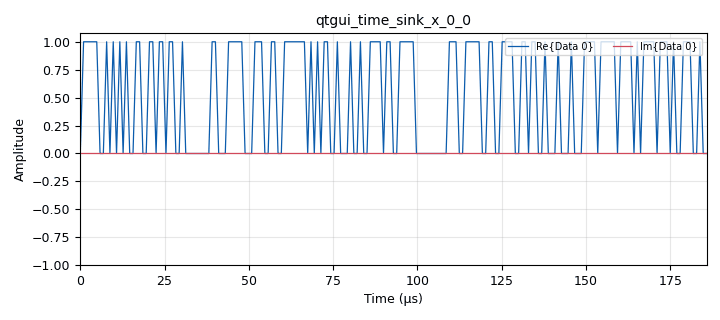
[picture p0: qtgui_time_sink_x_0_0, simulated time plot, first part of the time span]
options:
  parameters:
    generate_options: qt_gui
    id: CDMA
    output_language: python
    title: Not titled yet
  states: {}

blocks:
- name: samp_rate
  id: variable
  parameters:
    value: '1023000'
  states: {}
- name: analog_sig_source_x_0
  id: analog_sig_source_x
  parameters:
    amp: '1'
    freq: '1575420000'
    offset: '0'
    phase: '0'
    samp_rate: samp_rate
    type: complex
    waveform: analog.GR_SIN_WAVE
  states: {state: disabled}
- name: blocks_float_to_complex_0
  id: blocks_float_to_complex
  parameters: {}
  states: {}
- name: blocks_int_to_float_0
  id: blocks_int_to_float
  parameters:
    scale: '1'
  states: {}
- name: blocks_multiply_xx_0
  id: blocks_multiply_xx
  parameters:
    type: complex
  states: {state: disabled}
- name: blocks_throttle_0
  id: blocks_throttle
  parameters:
    samples_per_second: '1023000'
    type: int
    vlen: '1023'
  states: {}
- name: blocks_throttle_0_0
  id: blocks_throttle
  parameters:
    samples_per_second: '50'
    type: int
    vlen: '300'
  states: {}
- name: blocks_vector_source_x_0
  id: blocks_vector_source_x
  parameters:
    repeat: 'True'
    type: int
    vector: '[1, 1, 1, 1, 0, 0, 0, 1, 1, 0, 1, 0, 0, 0, 0, 1, 0, 0, 0, 0, 0, 0, 0, 1, 1, 0, 1, 0, 0, 0, 1, 1, 0, 0, 1, 1, 0, 0, 1, 1, 1, 1, 0, 1, 1, 0, 0, 0, 1, 1, 1, 1, 0, 0, 1, 0, 1, 0, 1, 1, 1, 1, 1, 0, 1, 1, 1, 1, 1, 1, 1, 0, 0, 0, 1, 1, 0, 0, 0, 1, 0, 1, 0, 1, 1, 0, 1, 0, 1, 0, 0, 1, 1, 0, 1, 1, 1, 1, 0, 1, 0, 0, 0, 0, 1, 1, 0, 1, 1, 1, 0, 0, 1, 1, 1, 1, 1, 1, 0, 0, 0, 1, 1, 0, 0, 1, 0, 0, 0, 1, 0, 0, 1, 0, 1, 1, 0, 1, 1, 1, 0, 0, 1, 0, 1, 0, 1, 1, 0, 0, 0, 1, 0, 1, 0, 0, 1, 0, 0, 0, 0, 1, 0, 1, 0, 1, 1, 0, 0, 1, 0, 1, 1, 1, 1, 0, 0, 0, 1, 0, 0, 0, 0, 0, 1, 0, 1, 0, 1, 1, 0, 1, 0, 0, 0, 1, 1, 0, 0, 0, 1, 1, 0, 1, 0, 0, 0, 0, 0, 1, 1, 1, 1, 0, 1, 1, 0, 0, 0, 1, 1, 0, 0, 1, 1, 0, 1, 1, 0, 1, 1, 1, 1, 1, 0, 0, 0, 0, 1, 0, 1, 1, 1, 0, 0, 0, 1, 0, 1, 0, 1, 1, 0, 0, 0, 1, 0, 0, 0, 0, 0, 1, 1, 0, 1, 1, 0, 0, 0, 0, 0, 0, 0, 1, 1, 1, 0, 0, 0, 0, 0, 0, 1, 1, 0, 1, 1, 0, 0, 1, 1, 1, 1, 0, 0, 0, 0, 1, 0, 1, 1, 1, 0, 0, 1, 1, 0, 0, 1, 1, 0, 0, 1, 1, 0, 0, 0, 1, 1, 1, 0, 0, 0, 0, 1, 1, 1, 0, 1, 0, 0, 1, 1, 1, 1, 0, 0, 1, 1, 1, 1, 1, 0, 1, 0, 0, 0, 1, 1, 1, 1, 0, 0, 0, 0, 0, 0, 1, 1, 0, 0, 1, 0, 0, 1, 1, 0, 0, 0, 1, 0, 1, 0, 1, 0, 1, 0, 1, 0, 1, 0, 0, 1, 1, 1, 0, 0, 0, 1, 0, 0, 0, 0, 1, 0, 1, 0, 1, 1, 0, 0, 1, 0, 1, 1, 0, 1, 1, 0, 1, 0, 1, 0, 0, 1, 0, 0, 1, 0, 1, 1, 1, 1, 0, 0, 0, 1, 1, 0, 0, 0, 1, 1, 0, 1, 1, 0, 0, 0, 1, 1, 1, 1, 0, 1, 0, 1, 0, 1, 1, 0, 0, 0, 0, 0, 1, 0, 1, 1, 1, 1, 1, 1, 0, 1, 0, 0, 0, 0, 0, 0, 0, 0, 1, 0, 1, 1, 1, 0, 0, 1, 0, 0, 0, 1, 0, 0, 1, 0, 1, 0, 0, 0, 1, 1, 0, 0, 0, 1, 0, 0, 1, 0, 0, 0, 1, 1, 1, 0, 1, 0, 1, 0, 0, 0, 1, 1, 1, 1, 1, 0, 0, 1, 0, 1, 1, 1, 1, 1, 1, 1, 0, 0, 1, 1, 0, 0, 1, 0, 0, 1, 0, 0, 1, 1, 0, 1, 1, 1, 1, 1, 1, 1, 1, 1, 1, 1, 1, 1, 0, 0, 0, 0, 0, 1, 1, 1, 0, 0, 0, 1, 1, 0, 0, 1, 1, 0, 0, 0, 0, 0, 0, 0, 1, 1, 0, 0, 1, 0, 0, 1, 1, 0, 1, 1, 1, 0, 1, 1, 0, 1, 1, 0, 0, 0, 0, 1, 0, 0, 1, 1, 0, 0, 0, 1, 1, 0, 0, 1, 1, 1, 1, 1, 1, 1, 1, 0, 0, 0, 1, 1, 0, 0, 0, 1, 0, 0, 0, 1, 1, 0, 0, 0, 0, 1, 1, 1, 1, 1, 1, 1, 0, 0, 1, 0, 1, 1, 1, 0, 1, 1, 1, 0, 1, 1, 1, 1, 0, 1, 1, 0, 0, 0, 1, 1, 0, 0, 1, 1, 1, 1, 1, 0, 1, 0, 1, 0, 0, 1, 0, 0, 1, 1, 0, 0, 0, 0, 1, 1, 1, 0, 0, 1, 0, 0, 0, 0, 0, 1, 0, 1, 0, 0, 1, 1, 0, 0, 1, 1, 0, 0, 1, 1, 0, 1, 0, 1, 0, 0, 1, 1, 1, 1, 1, 1, 0, 0, 0, 0, 1, 1, 1, 0, 1, 0, 1, 1, 0, 0, 1, 0, 1, 0, 0, 0, 1, 1, 1, 1, 0, 1, 0, 1, 0, 0, 1, 1, 1, 0, 0, 1, 0, 1, 0, 1, 1, 0, 1, 1, 1, 1, 0, 1, 1, 0, 1, 1, 0, 0, 0, 0, 1, 0, 0, 1, 1, 0, 1, 0, 0, 1, 1, 1, 0, 1, 1, 0, 1, 0, 0, 0, 1, 0, 0, 0, 0, 0, 0, 1, 1, 1, 0, 0, 0, 1, 1, 1, 0, 0, 1, 1, 0, 0, 1, 1, 0, 0, 0, 1, 1, 0, 0, 1, 1, 0, 1, 1, 0, 0, 0, 1, 1, 1, 1, 1, 1, 0, 1, 1, 1, 0, 0, 0, 1, 0, 1, 0, 1, 0, 1, 0, 0, 0, 1, 1, 1, 0, 1, 0, 0, 0, 1, 1, 1, 1, 0, 0, 1, 1, 1, 1, 0, 0, 0, 0, 1, 0, 0, 1, 1, 0, 1, 1, 0, 0, 0, 0, 1, 1, 1, 0, 0, 0, 1, 1, 0, 1, 0, 0, 0, 1, 0, 1, 1, 0, 1, 0, 0, 0, 0, 1, 1, 0, 1, 1, 1, 1, 1, 1, 1, 0, 1, 1, 1, 1, 0, 1, 0, 0, 0, 1, 1, 0, 0, 0, 0, 0, 1, 0, 1, 1, 1, 1, 1, 0, 0, 1, 1, 1, 0, 1, 0, 1, 1, 1, 1, 0, 0, 0, 0, 1, 1, 1, 1, 0, 1, 0, 0, 1, 1, 0, 0, 0, 0, 0, 1, 1, 1, 1, 1, 0, 0, 1, 0, 1, 1, 0, 0, 1, 1, 0, 0, 0, 1, 0, 0, 1, 0, 1, 0, 0, 0, 0]'
    vlen: '1023'
  states: {}
- name: blocks_vector_source_x_0_0
  id: blocks_vector_source_x
  parameters:
    repeat: 'True'
    type: int
    vector: '[1,0,0,0,1,0,1,1,1,0,1,0,1,0,1,0,1,0,1,0,1,0,1,1,0,1,0,1,0,1,1,0,0,0,0,1,0,0,1,1,1,0,0,0,1,0,0,1,1,0,0,1,1,0,0,0,1,1,0,0,0,0,1,0,0,1,0,1,0,1,0,1,0,0,1,0,0,0,0,0,0,0,0,0,0,0,0,1,0,1,0,1,1,1,1,1,1,1,1,1,1,1,1,1,1,1,1,1,1,1,1,1,1,1,1,1,0,0,1,1,1,1,1,1,1,1,1,1,1,1,1,1,1,1,1,1,1,1,1,1,1,1,1,1,1,1,0,0,1,1,1,1,1,1,1,1,1,1,1,1,1,1,1,1,1,1,1,1,1,1,1,1,1,1,1,1,0,0,0,0,1,1,1,1,1,1,1,1,1,1,1,1,1,1,1,1,0,1,0,0,0,0,0,0,1,1,0,0,1,1,0,0,1,1,1,1,0,0,1,1,0,0,1,1,0,0,1,1,1,1,0,0,1,0,1,0,0,1,1,1,0,0,0,0,0,0,0,0,1,1,0,0,1,0,0,0,1,0,0,0,0,0,0,0,0,0,0,0,0,0,0,0,1,1,0,0,1,0,1,0,0,0,0,0,0,0,0,0,0,1,1,0,1,0,1,0,0,0,0,1]'
    vlen: '300'
  states: {}
- name: blocks_vector_to_stream_0
  id: blocks_vector_to_stream
  parameters:
    num_items: '1023'
    type: int
  states: {}
- name: blocks_vector_to_stream_0_0
  id: blocks_vector_to_stream
  parameters:
    num_items: '300'
    type: int
  states: {}
- name: blocks_xor_xx_0
  id: blocks_xor_xx
  parameters:
    type: int
  states: {}
- name: qtgui_time_sink_x_0
  id: qtgui_time_sink_x
  parameters:
    size: '1024'
    srate: samp_rate
    type: complex
  states: {state: disabled}
- name: qtgui_time_sink_x_0_0
  id: qtgui_time_sink_x
  parameters:
    size: '1024'
    srate: samp_rate
    type: complex
  states: {}
- name: qtgui_time_sink_x_0_0_0
  id: qtgui_time_sink_x
  parameters:
    size: '1024'
    srate: samp_rate
    type: complex
  states: {state: disabled}
- name: uhd_usrp_sink_0
  id: uhd_usrp_sink
  parameters:
    ant0: '"TX/RX"'
    bw0: '200000'
    center_freq0: '1575420000'
    dev_addr: '"addr=192.168.10.2"'
    dev_args: '""'
    gain0: '40'
    samp_rate: samp_rate
    sync: sync
    type: fc32
  states: {}

connections:
- [analog_sig_source_x_0, '0', blocks_multiply_xx_0, '0']
- [blocks_float_to_complex_0, '0', blocks_multiply_xx_0, '1']
- [blocks_float_to_complex_0, '0', qtgui_time_sink_x_0_0, '0']
- [blocks_float_to_complex_0, '0', uhd_usrp_sink_0, '0']
- [blocks_int_to_float_0, '0', blocks_float_to_complex_0, '0']
- [blocks_multiply_xx_0, '0', qtgui_time_sink_x_0_0_0, '0']
- [blocks_throttle_0, '0', blocks_vector_to_stream_0, '0']
- [blocks_throttle_0_0, '0', blocks_vector_to_stream_0_0, '0']
- [blocks_vector_source_x_0, '0', blocks_throttle_0, '0']
- [blocks_vector_source_x_0_0, '0', blocks_throttle_0_0, '0']
- [blocks_vector_to_stream_0, '0', blocks_xor_xx_0, '1']
- [blocks_vector_to_stream_0, '0', qtgui_time_sink_x_0, '0']
- [blocks_vector_to_stream_0_0, '0', blocks_xor_xx_0, '0']
- [blocks_xor_xx_0, '0', blocks_int_to_float_0, '0']

metadata:
  file_format: 1
  grc_version: 3.10.5.1
